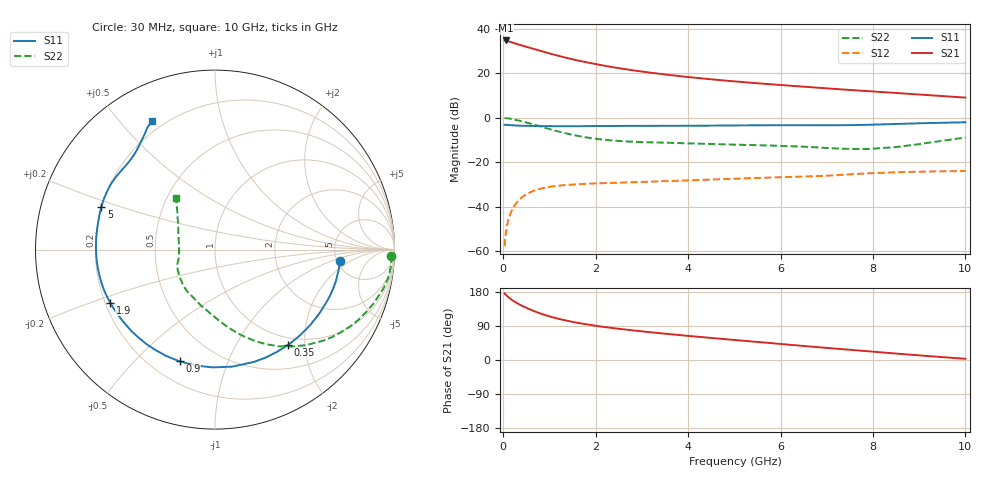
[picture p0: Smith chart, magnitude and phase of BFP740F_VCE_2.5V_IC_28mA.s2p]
! Infineon Technologies  Discrete & RF Semiconductors
! BFP740F
! VCE =  2.5 V,  IC =  28 mA
! Common Emitter S-Parameters:  Oct 2012
# GHz  S  MA  R  50
!  f  S11  S21  S12  S22
! GHz  MAG  ANG  MAG  ANG  MAG  ANG  MAG  ANG
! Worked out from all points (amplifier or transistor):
!   99 points, 30 MHz to 10 GHz, reference 50 ohm
!   highest |S21| = 34.9 dB at 50 MHz (marker M1)
!   |S21| within 3 dB of that: start of sweep to 524.1 MHz
!   unconditionally stable (mu >= 1): 5.406 GHz to end of sweep
!   at 350 MHz: K = 0.18, MSG = 34.8 dB, |S12| = -36.8 dB
!   at 3.5 GHz: K = 0.77, MSG = 24.0 dB, |S12| = -28.5 dB
!   at 10 GHz: K = 1.18, MAG = 14.0 dB, |S12| = -23.9 dB
!   S11 on the Smith chart (normalised r, x): 30 MHz: 5.34, -1.27; 350 MHz: 0.87, -1.68; 900 MHz: 0.32, -0.68; 1.9 GHz: 0.22, -0.23; 5 GHz: 0.20, +0.17; 10 GHz: 0.16, +0.61
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0.03  0.6993 -5.0  55.26 175.7  0.0013 104.5  0.9807 -2.0
0.05  0.6982 -8.2  55.27 173.3  0.0022 100.6  0.9846 -4.2
0.09  0.6957 -14.9  54.09 168.3  0.0041 82.9  0.9796 -8.5
0.13  0.6906 -21.4  52.41 163.9  0.0057 79.1  0.9653 -12.4
0.2  0.6815 -31.9  49.58 157.5  0.0089 76.2  0.9345 -18.5
0.25  0.6768 -39.0  47.7 153.6  0.0108 73.3  0.9111 -22.5
0.35  0.6695 -52.5  44.16 146.7  0.0145 66.5  0.8634 -30.0
0.45  0.6644 -64.8  41.2 140.6  0.0177 61.0  0.8138 -36.8
0.6  0.6592 -81.5  37.15 132.3  0.0216 54.6  0.7377 -46.1
0.7  0.6565 -91.0  34.64 127.4  0.0237 50.6  0.6897 -51.6
0.9  0.6529 -107.5  30.22 118.8  0.0269 44.2  0.5998 -61.5
1.1  0.6506 -120.8  26.48 111.7  0.029 39.6  0.5242 -69.8
1.3  0.6495 -131.3  23.39 105.7  0.0306 35.9  0.4635 -77.1
1.7  0.6512 -147.1  18.77 96.3  0.0325 31.4  0.3789 -89.6
1.9  0.6542 -153.2  17.03 92.4  0.0333 30.3  0.3505 -95.4
2.4  0.6591 -165.1  13.69 83.8  0.0347 28.0  0.3091 -108.1
3.4  0.6635 178.8  9.772 70.6  0.0376 27.2  0.2785 -124.2
5  0.6763 159.5  6.636 52.9  0.0427 27.6  0.2502 -141.1
5.1  0.6777 158.5  6.504 51.8  0.043 27.6  0.2488 -142.3
6.7  0.6832 141.7  4.866 35.0  0.0486 27.8  0.2195 -161.2
8.5  0.7308 124.2  3.638 17.0  0.0599 24.2  0.2209 157.3
10  0.7967 116.3  2.863 3.2  0.0638 18.6  0.3621 126.8
